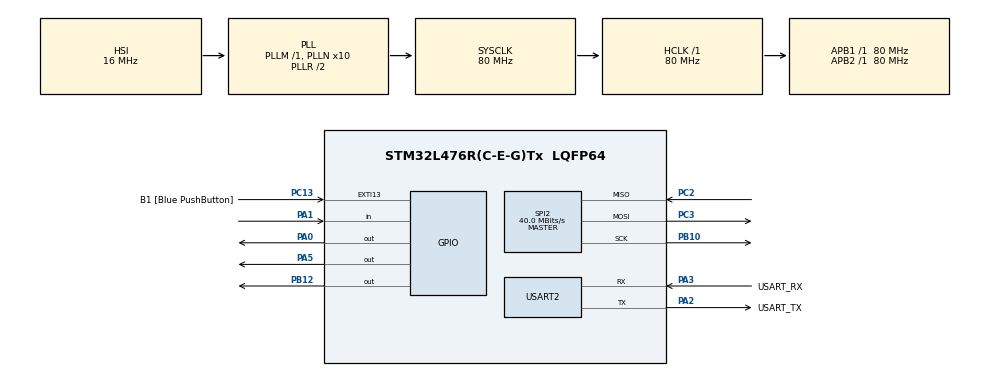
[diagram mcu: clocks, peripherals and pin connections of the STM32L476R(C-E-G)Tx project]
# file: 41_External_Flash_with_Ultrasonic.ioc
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Mcu.Family=STM32L4
Mcu.Name=STM32L476R(C-E-G)Tx
Mcu.Package=LQFP64
NVIC.PriorityGroup=NVIC_PRIORITYGROUP_4
NVIC.TIM2_IRQn=true\:0\:0\:false\:false\:true\:true\:true\:true
PA0.Signal=GPIO_Output
PA1.Signal=GPIO_Input
PA13\ (JTMS-SWDIO).GPIO_Label=TMS
PA13\ (JTMS-SWDIO).Mode=Serial_Wire
PA13\ (JTMS-SWDIO).Signal=SYS_JTMS-SWDIO
PA14\ (JTCK-SWCLK).GPIO_Label=TCK
PA14\ (JTCK-SWCLK).Mode=Serial_Wire
PA14\ (JTCK-SWCLK).Signal=SYS_JTCK-SWCLK
PA2.GPIO_Label=USART_TX
PA2.GPIO_Mode=GPIO_MODE_AF_PP
PA2.GPIO_PuPd=GPIO_NOPULL
PA2.GPIO_Speed=GPIO_SPEED_FREQ_VERY_HIGH
PA2.Mode=Asynchronous
PA2.Signal=USART2_TX
PA3.GPIO_Label=USART_RX
PA3.GPIO_Mode=GPIO_MODE_AF_PP
PA3.GPIO_PuPd=GPIO_NOPULL
PA3.GPIO_Speed=GPIO_SPEED_FREQ_VERY_HIGH
PA3.Mode=Asynchronous
PA3.Signal=USART2_RX
PA5.Signal=GPIO_Output
PB10.Mode=Full_Duplex_Master
PB10.Signal=SPI2_SCK
PB12.Signal=GPIO_Output
PB3\ (JTDO-TRACESWO).GPIO_Label=SWO
PB3\ (JTDO-TRACESWO).Signal=SYS_JTDO-SWO
PC13.GPIO_Label=B1 [Blue PushButton]
PC13.GPIO_ModeDefaultEXTI=GPIO_MODE_IT_FALLING
PC13.GPIO_PuPd=GPIO_NOPULL
PC13.Signal=GPXTI13
PC14-OSC32_IN\ (PC14).Mode=LSE-External-Oscillator
PC14-OSC32_IN\ (PC14).Signal=RCC_OSC32_IN
PC15-OSC32_OUT\ (PC15).Mode=LSE-External-Oscillator
PC15-OSC32_OUT\ (PC15).Signal=RCC_OSC32_OUT
PC2.Mode=Full_Duplex_Master
PC2.Signal=SPI2_MISO
PC3.Mode=Full_Duplex_Master
PC3.Signal=SPI2_MOSI
PH0-OSC_IN\ (PH0).Signal=RCC_OSC_IN
PH1-OSC_OUT\ (PH1).Signal=RCC_OSC_OUT
ProjectManager.HeapSize=0x200
ProjectManager.StackSize=0x400
ProjectManager.TargetToolchain=STM32CubeIDE
RCC.ADCFreq_Value=64000000
RCC.AHBFreq_Value=80000000
RCC.APB1Freq_Value=80000000
RCC.APB1TimFreq_Value=80000000
RCC.APB2Freq_Value=80000000
RCC.APB2TimFreq_Value=80000000
RCC.CortexFreq_Value=80000000
RCC.HCLKFreq_Value=80000000
RCC.HSE_VALUE=8000000
RCC.HSI_VALUE=16000000
RCC.MSI_VALUE=4000000
RCC.PLLN=10
RCC.PLLSourceVirtual=RCC_PLLSOURCE_HSI
RCC.PREFETCH_ENABLE=1
RCC.SYSCLKFreq_VALUE=80000000
RCC.SYSCLKSource=RCC_SYSCLKSOURCE_PLLCLK
RCC.USBFreq_Value=64000000
RCC.VCOOutputFreq_Value=160000000
SPI2.CalculateBaudRate=40.0 MBits/s
SPI2.Direction=SPI_DIRECTION_2LINES
SPI2.Mode=SPI_MODE_MASTER
SPI2.VirtualType=VM_MASTER
USART2.VirtualMode-Asynchronous=VM_ASYNC
VP_TIM2_VS_ClockSourceINT.Mode=Internal
board=NUCLEO-L476RG

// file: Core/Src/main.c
/* USER CODE BEGIN Header */
/**
  ******************************************************************************
  * @file           : main.c
  * @brief          : Main program body
  ******************************************************************************
  * @attention
  *
  * Copyright (c) 2025 STMicroelectronics.
  * All rights reserved.
  *
  * This software is licensed under terms that can be found in the LICENSE file
  * in the root directory of this software component.
  * If no LICENSE file comes with this software, it is provided AS-IS.
  *
  ******************************************************************************
  */
/* USER CODE END Header */
#include "main.h"

/* USER CODE BEGIN Includes */
#include <string.h>
#include <stdio.h>

// ===== Flash Chip Control (W25Q32) =====
#define FLASH_CS_LOW()   HAL_GPIO_WritePin(GPIOB, GPIO_PIN_12, GPIO_PIN_RESET)  // CS = 0 (select chip)
#define FLASH_CS_HIGH()  HAL_GPIO_WritePin(GPIOB, GPIO_PIN_12, GPIO_PIN_SET)    // CS = 1 (release chip)

// Flash command set
#define W25Q_WRITE_ENABLE    0x06
#define W25Q_PAGE_PROGRAM    0x02
#define W25Q_READ_DATA       0x03
#define W25Q_READ_STATUS     0x05
#define W25Q_JEDEC_ID        0x9F
#define W25Q_SECTOR_ERASE    0x20

// ===== Ultrasonic Sensor (HC-SR04) Pins =====
#define TRIG_PIN    GPIO_PIN_0
#define TRIG_PORT   GPIOA
#define ECHO_PIN    GPIO_PIN_1
#define ECHO_PORT   GPIOA

// ===== Flash memory layout =====
#define FLASH_SIZE_BYTES   (4UL * 1024UL * 1024UL)   // 4 MB total
#define SECTOR_SIZE_BYTES  (4UL * 1024UL)            // 4 KB per sector (smallest erasable block)

SPI_HandleTypeDef hspi2;   // SPI for flash memory
UART_HandleTypeDef huart2; // UART for serial messages
TIM_HandleTypeDef htim2;   // Timer for microsecond delays

uint32_t flash_addr = 0;   // Current write pointer in flash
char uart_buf[128];        // Buffer for UART messages

/* USER CODE END Includes */

SPI_HandleTypeDef hspi2;

TIM_HandleTypeDef htim2;

UART_HandleTypeDef huart2;

void SystemClock_Config(void);
static void MX_GPIO_Init(void);
static void MX_USART2_UART_Init(void);
static void MX_SPI2_Init(void);
static void MX_TIM2_Init(void);

/* USER CODE BEGIN 0 */

void Delay_us(uint16_t us);   // Delay function (microseconds)

// Flash memory functions
void W25Q_WriteEnable(void);
uint8_t W25Q_ReadStatus(void);
void W25Q_WaitBusy(void);
void W25Q_PageProgram(uint32_t addr, uint8_t* data, uint16_t len);
void W25Q_ReadData(uint32_t addr, uint8_t* buf, uint16_t len);
void W25Q_SectorErase(uint32_t addr);
uint32_t W25Q32_ReadID(void);

// Ultrasonic sensor function
uint32_t HCSR04_Read_cm(void);

// ===== Flash Functions =====

// Erase a 4KB flash sector
void W25Q_SectorErase(uint32_t addr)
{
  uint8_t cmd[4];
  W25Q_WriteEnable();  // must enable write before erase
  cmd[0] = W25Q_SECTOR_ERASE;
  cmd[1] = (addr >> 16) & 0xFF;
  cmd[2] = (addr >> 8) & 0xFF;
  cmd[3] = addr & 0xFF;
  FLASH_CS_LOW();
  HAL_SPI_Transmit(&hspi2, cmd, 4, HAL_MAX_DELAY);
  FLASH_CS_HIGH();
  W25Q_WaitBusy();     // wait until erase completes
}

// Allow writes to flash (mandatory before programming or erase)
void W25Q_WriteEnable(void)
{
  uint8_t cmd = W25Q_WRITE_ENABLE;
  FLASH_CS_LOW();
  HAL_SPI_Transmit(&hspi2, &cmd, 1, HAL_MAX_DELAY);
  FLASH_CS_HIGH();
}

// Read flash status register (bit0 = BUSY)
uint8_t W25Q_ReadStatus(void)
{
  uint8_t cmd = W25Q_READ_STATUS;
  uint8_t status = 0;
  FLASH_CS_LOW();
  HAL_SPI_Transmit(&hspi2, &cmd, 1, HAL_MAX_DELAY);
  HAL_SPI_Receive(&hspi2, &status, 1, HAL_MAX_DELAY);
  FLASH_CS_HIGH();
  return status;
}

// Wait until flash chip finishes write/erase operation
void W25Q_WaitBusy(void)
{
  while (W25Q_ReadStatus() & 0x01) { }
}

// Program (write) up to 256 bytes to flash page
void W25Q_PageProgram(uint32_t addr, uint8_t* data, uint16_t len)
{
  uint8_t cmd[4];
  W25Q_WriteEnable();
  cmd[0] = W25Q_PAGE_PROGRAM;
  cmd[1] = (addr >> 16) & 0xFF;
  cmd[2] = (addr >> 8) & 0xFF;
  cmd[3] = addr & 0xFF;

  FLASH_CS_LOW();
  HAL_SPI_Transmit(&hspi2, cmd, 4, HAL_MAX_DELAY);
  HAL_SPI_Transmit(&hspi2, data, len, HAL_MAX_DELAY);
  FLASH_CS_HIGH();
  W25Q_WaitBusy();
}

// Read bytes from flash memory
void W25Q_ReadData(uint32_t addr, uint8_t* buf, uint16_t len)
{
  uint8_t cmd[4];
  cmd[0] = W25Q_READ_DATA;
  cmd[1] = (addr >> 16) & 0xFF;
  cmd[2] = (addr >> 8) & 0xFF;
  cmd[3] = addr & 0xFF;

  FLASH_CS_LOW();
  HAL_SPI_Transmit(&hspi2, cmd, 4, HAL_MAX_DELAY);
  HAL_SPI_Receive(&hspi2, buf, len, HAL_MAX_DELAY);
  FLASH_CS_HIGH();
}

// Read JEDEC ID of flash chip (manufacturer + device ID)
uint32_t W25Q32_ReadID(void)
{
  uint8_t cmd = W25Q_JEDEC_ID;
  uint8_t id[3] = {0};
  FLASH_CS_LOW();
  HAL_SPI_Transmit(&hspi2, &cmd, 1, HAL_MAX_DELAY);
  HAL_SPI_Receive(&hspi2, id, 3, HAL_MAX_DELAY);
  FLASH_CS_HIGH();
  return (id[0] << 16) | (id[1] << 8) | id[2];
}

// ===== Ultrasonic Sensor Functions =====

// Blocking microsecond delay using TIM2
void Delay_us(uint16_t us)
{
  uint32_t start = __HAL_TIM_GET_COUNTER(&htim2);
  while (((__HAL_TIM_GET_COUNTER(&htim2) - start) & 0xFFFF) < us) { }
}

// Trigger HC-SR04 and measure echo pulse → distance in cm
uint32_t HCSR04_Read_cm(void)
{
    uint32_t t1, t2;

    // Send 10 µs trigger pulse
    HAL_GPIO_WritePin(TRIG_PORT, TRIG_PIN, GPIO_PIN_RESET);
    Delay_us(2);
    HAL_GPIO_WritePin(TRIG_PORT, TRIG_PIN, GPIO_PIN_SET);
    Delay_us(10);
    HAL_GPIO_WritePin(TRIG_PORT, TRIG_PIN, GPIO_PIN_RESET);

    // Wait until ECHO goes high
    while (HAL_GPIO_ReadPin(ECHO_PORT, ECHO_PIN) == GPIO_PIN_RESET);
    t1 = __HAL_TIM_GET_COUNTER(&htim2);

    // Wait until ECHO goes low
    while (HAL_GPIO_ReadPin(ECHO_PORT, ECHO_PIN) == GPIO_PIN_SET);
    t2 = __HAL_TIM_GET_COUNTER(&htim2);

    // Calculate pulse width
    uint32_t pulse = (t2 >= t1) ? (t2 - t1) : (0x10000 - t1 + t2);

    // Convert microseconds → centimeters (speed of sound)
    return (pulse / 58U);
}

/* USER CODE END 0 */

int main(void)
{

  /* MCU Configuration--------------------------------------------------------*/

  /* Reset of all peripherals, Initializes the Flash interface and the Systick. */
  HAL_Init();

  /* Configure the system clock */
  SystemClock_Config();

  /* Initialize all configured peripherals */
  MX_GPIO_Init();
  MX_USART2_UART_Init();
  MX_SPI2_Init();
  MX_TIM2_Init();
  /* USER CODE BEGIN 2 */
  HAL_TIM_Base_Start(&htim2);
  // Print startup message
  sprintf(uart_buf, "W25Q32 + HC-SR04 Logger Start\r\n");
  HAL_UART_Transmit(&huart2, (uint8_t*)uart_buf, strlen(uart_buf), HAL_MAX_DELAY);

  // Print flash chip ID
  uint32_t id = W25Q32_ReadID();
  sprintf(uart_buf, "JEDEC ID: 0x%06lX\r\n", id);
  HAL_UART_Transmit(&huart2, (uint8_t*)uart_buf, strlen(uart_buf), HAL_MAX_DELAY);

  // Erase sector 0 before logging
  W25Q_SectorErase(flash_addr);

  while (1)
  {
    // 1) Measure distance from HC-SR04
    uint32_t dist_cm = HCSR04_Read_cm();
    sprintf(uart_buf, "Distance: %lu cm\r\n", dist_cm);
    HAL_UART_Transmit(&huart2, (uint8_t*)uart_buf, strlen(uart_buf), HAL_MAX_DELAY);

    // 2) Store distance as 4 bytes (little-endian)
    uint8_t four[4];
    four[0] = (uint8_t)(dist_cm & 0xFF);
    four[1] = (uint8_t)((dist_cm >> 8) & 0xFF);
    four[2] = (uint8_t)((dist_cm >> 16) & 0xFF);
    four[3] = (uint8_t)((dist_cm >> 24) & 0xFF);

    // If we cross a sector boundary → erase new sector
    if ((flash_addr % SECTOR_SIZE_BYTES) == 0)
    {
      W25Q_SectorErase(flash_addr);
    }

    // Write measurement into flash
    W25Q_PageProgram(flash_addr, four, 4);

    // 3) Read back and verify
    uint8_t back[4];
    W25Q_ReadData(flash_addr, back, 4);
    uint32_t verify = (uint32_t)back[0] | ((uint32_t)back[1] << 8) | ((uint32_t)back[2] << 16) | ((uint32_t)back[3] << 24);
    sprintf(uart_buf, "Logged: %lu cm @ 0x%06lX\r\n", verify, flash_addr);
    HAL_UART_Transmit(&huart2, (uint8_t*)uart_buf, strlen(uart_buf), HAL_MAX_DELAY);

    // Advance flash pointer
    flash_addr += 4;
    if (flash_addr >= FLASH_SIZE_BYTES) flash_addr = 0;  // wrap if full

    HAL_Delay(1000);  // wait 1 second before next reading
  }
  /* USER CODE END 2 */

  /* Infinite loop */
  /* USER CODE BEGIN WHILE */

  /* USER CODE END 3 */
}

void SystemClock_Config(void)
{
  RCC_OscInitTypeDef RCC_OscInitStruct = {0};
  RCC_ClkInitTypeDef RCC_ClkInitStruct = {0};

  /** Configure the main internal regulator output voltage
  */
  if (HAL_PWREx_ControlVoltageScaling(PWR_REGULATOR_VOLTAGE_SCALE1) != HAL_OK)
  {
    Error_Handler();
  }

  /** Initializes the RCC Oscillators according to the specified parameters
  * in the RCC_OscInitTypeDef structure.
  */
  RCC_OscInitStruct.OscillatorType = RCC_OSCILLATORTYPE_HSI;
  RCC_OscInitStruct.HSIState = RCC_HSI_ON;
  RCC_OscInitStruct.HSICalibrationValue = RCC_HSICALIBRATION_DEFAULT;
  RCC_OscInitStruct.PLL.PLLState = RCC_PLL_ON;
  RCC_OscInitStruct.PLL.PLLSource = RCC_PLLSOURCE_HSI;
  RCC_OscInitStruct.PLL.PLLM = 1;
  RCC_OscInitStruct.PLL.PLLN = 10;
  RCC_OscInitStruct.PLL.PLLP = RCC_PLLP_DIV7;
  RCC_OscInitStruct.PLL.PLLQ = RCC_PLLQ_DIV2;
  RCC_OscInitStruct.PLL.PLLR = RCC_PLLR_DIV2;
  if (HAL_RCC_OscConfig(&RCC_OscInitStruct) != HAL_OK)
  {
    Error_Handler();
  }

  /** Initializes the CPU, AHB and APB buses clocks
  */
  RCC_ClkInitStruct.ClockType = RCC_CLOCKTYPE_HCLK|RCC_CLOCKTYPE_SYSCLK
                              |RCC_CLOCKTYPE_PCLK1|RCC_CLOCKTYPE_PCLK2;
  RCC_ClkInitStruct.SYSCLKSource = RCC_SYSCLKSOURCE_PLLCLK;
  RCC_ClkInitStruct.AHBCLKDivider = RCC_SYSCLK_DIV1;
  RCC_ClkInitStruct.APB1CLKDivider = RCC_HCLK_DIV1;
  RCC_ClkInitStruct.APB2CLKDivider = RCC_HCLK_DIV1;

  if (HAL_RCC_ClockConfig(&RCC_ClkInitStruct, FLASH_LATENCY_4) != HAL_OK)
  {
    Error_Handler();
  }
}

static void MX_SPI2_Init(void)
{

  /* SPI2 parameter configuration*/
  hspi2.Instance = SPI2;
  hspi2.Init.Mode = SPI_MODE_MASTER;
  hspi2.Init.Direction = SPI_DIRECTION_2LINES;
  hspi2.Init.DataSize = SPI_DATASIZE_4BIT;
  hspi2.Init.CLKPolarity = SPI_POLARITY_LOW;
  hspi2.Init.CLKPhase = SPI_PHASE_1EDGE;
  hspi2.Init.NSS = SPI_NSS_SOFT;
  hspi2.Init.BaudRatePrescaler = SPI_BAUDRATEPRESCALER_2;
  hspi2.Init.FirstBit = SPI_FIRSTBIT_MSB;
  hspi2.Init.TIMode = SPI_TIMODE_DISABLE;
  hspi2.Init.CRCCalculation = SPI_CRCCALCULATION_DISABLE;
  hspi2.Init.CRCPolynomial = 7;
  hspi2.Init.CRCLength = SPI_CRC_LENGTH_DATASIZE;
  hspi2.Init.NSSPMode = SPI_NSS_PULSE_ENABLE;
  if (HAL_SPI_Init(&hspi2) != HAL_OK)
  {
    Error_Handler();
  }

}

static void MX_TIM2_Init(void)
{

  TIM_ClockConfigTypeDef sClockSourceConfig = {0};
  TIM_MasterConfigTypeDef sMasterConfig = {0};

  htim2.Instance = TIM2;
  htim2.Init.Prescaler = 0;
  htim2.Init.CounterMode = TIM_COUNTERMODE_UP;
  htim2.Init.Period = 4294967295;
  htim2.Init.ClockDivision = TIM_CLOCKDIVISION_DIV1;
  htim2.Init.AutoReloadPreload = TIM_AUTORELOAD_PRELOAD_DISABLE;
  if (HAL_TIM_Base_Init(&htim2) != HAL_OK)
  {
    Error_Handler();
  }
  sClockSourceConfig.ClockSource = TIM_CLOCKSOURCE_INTERNAL;
  if (HAL_TIM_ConfigClockSource(&htim2, &sClockSourceConfig) != HAL_OK)
  {
    Error_Handler();
  }
  sMasterConfig.MasterOutputTrigger = TIM_TRGO_RESET;
  sMasterConfig.MasterSlaveMode = TIM_MASTERSLAVEMODE_DISABLE;
  if (HAL_TIMEx_MasterConfigSynchronization(&htim2, &sMasterConfig) != HAL_OK)
  {
    Error_Handler();
  }

}

static void MX_USART2_UART_Init(void)
{

  huart2.Instance = USART2;
  huart2.Init.BaudRate = 115200;
  huart2.Init.WordLength = UART_WORDLENGTH_8B;
  huart2.Init.StopBits = UART_STOPBITS_1;
  huart2.Init.Parity = UART_PARITY_NONE;
  huart2.Init.Mode = UART_MODE_TX_RX;
  huart2.Init.HwFlowCtl = UART_HWCONTROL_NONE;
  huart2.Init.OverSampling = UART_OVERSAMPLING_16;
  huart2.Init.OneBitSampling = UART_ONE_BIT_SAMPLE_DISABLE;
  huart2.AdvancedInit.AdvFeatureInit = UART_ADVFEATURE_NO_INIT;
  if (HAL_UART_Init(&huart2) != HAL_OK)
  {
    Error_Handler();
  }

}

static void MX_GPIO_Init(void)
{
  GPIO_InitTypeDef GPIO_InitStruct = {0};

  /* GPIO Ports Clock Enable */
  __HAL_RCC_GPIOC_CLK_ENABLE();
  __HAL_RCC_GPIOH_CLK_ENABLE();
  __HAL_RCC_GPIOA_CLK_ENABLE();
  __HAL_RCC_GPIOB_CLK_ENABLE();

  /*Configure GPIO pin Output Level */
  HAL_GPIO_WritePin(GPIOA, GPIO_PIN_0|GPIO_PIN_5, GPIO_PIN_RESET);

  /*Configure GPIO pin Output Level */
  HAL_GPIO_WritePin(GPIOB, GPIO_PIN_12, GPIO_PIN_RESET);

  /*Configure GPIO pin : B1_Pin */
  GPIO_InitStruct.Pin = B1_Pin;
  GPIO_InitStruct.Mode = GPIO_MODE_IT_FALLING;
  GPIO_InitStruct.Pull = GPIO_NOPULL;
  HAL_GPIO_Init(B1_GPIO_Port, &GPIO_InitStruct);

  /*Configure GPIO pins : PA0 PA5 */
  GPIO_InitStruct.Pin = GPIO_PIN_0|GPIO_PIN_5;
  GPIO_InitStruct.Mode = GPIO_MODE_OUTPUT_PP;
  GPIO_InitStruct.Pull = GPIO_NOPULL;
  GPIO_InitStruct.Speed = GPIO_SPEED_FREQ_LOW;
  HAL_GPIO_Init(GPIOA, &GPIO_InitStruct);

  /*Configure GPIO pin : PA1 */
  GPIO_InitStruct.Pin = GPIO_PIN_1;
  GPIO_InitStruct.Mode = GPIO_MODE_INPUT;
  GPIO_InitStruct.Pull = GPIO_NOPULL;
  HAL_GPIO_Init(GPIOA, &GPIO_InitStruct);

  /*Configure GPIO pin : PB12 */
  GPIO_InitStruct.Pin = GPIO_PIN_12;
  GPIO_InitStruct.Mode = GPIO_MODE_OUTPUT_PP;
  GPIO_InitStruct.Pull = GPIO_NOPULL;
  GPIO_InitStruct.Speed = GPIO_SPEED_FREQ_LOW;
  HAL_GPIO_Init(GPIOB, &GPIO_InitStruct);

}

void Error_Handler(void)
{
  __disable_irq();
  while (1)
  {
  }
}
